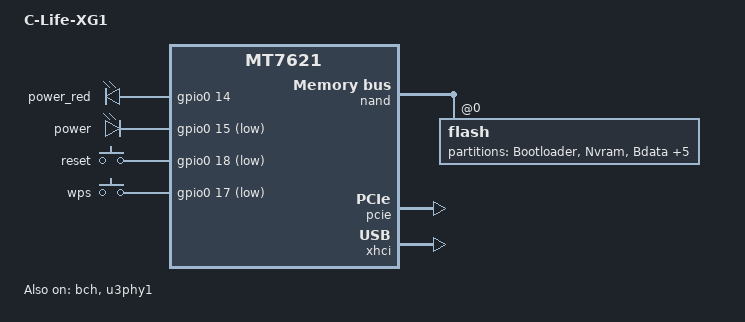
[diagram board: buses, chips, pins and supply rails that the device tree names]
/dts-v1/;

#include "mt7621.dtsi"
#include <dt-bindings/input/input.h>
#include "mt7621-raeth-gmac2.dtsi"
#include "mt7621-pinctrl-default-gpio.dtsi"

/ {
	compatible = "mediatek,mt7621-soc";
	model = "C-Life-XG1";

	chosen {
		bootargs = "console=ttyS0,115200";
	};

	leds {
		compatible = "gpio-leds";

		sys_red {
			label = "power_red";
			gpios = <&gpio0 14 GPIO_ACTIVE_HIGH>;
		};

		sys_blue {
			label = "power";
			gpios = <&gpio0 15 GPIO_ACTIVE_LOW>;
		};
	};

	gpio-keys-polled {
		compatible = "gpio-keys-polled";
		#address-cells = <1>;
		#size-cells = <0>;
		poll-interval = <20>;

		reset {
			label = "reset";
			gpios = <&gpio0 18 GPIO_ACTIVE_LOW>;
			linux,code = <KEY_RESTART>;
		};

		wps {
			label = "wps";
			gpios = <&gpio0 17 GPIO_ACTIVE_LOW>;
			linux,code = <KEY_WPS_BUTTON>;
		};
	};
};

&bch {
	status = "okay";
};

&nand {
	status = "okay";

	flash@0 {
		reg = <0>;
		nand-ecc-mode = "hw";
		partitions {
			compatible = "fixed-partitions";
			#address-cells = <1>;
			#size-cells = <1>;

			partition@0 {
				label = "Bootloader";
				reg = <0x00000 0x80000>;
			};

			partition@80000 {
				label = "Nvram";
				reg = <0x80000 0x40000>;
			};

			partition@c0000 {
				label = "Bdata";
				reg = <0xc0000 0x40000>;
			};

			partition@100000 {
				label = "Factory";
				reg = <0x100000 0x80000>;
			};
			
			partition@180000 {
				label = "crash";
				reg = <0x180000 0x40000>;
			};

			partition@1c0000 {
				label = "crash_log";
				reg = <0x1c0000 0x40000>;
			};

			partition@200000 {
				label = "kernel";
				reg = <0x200000 0x400000>;
			};

			partition@600000 {
				label = "ubi";
				reg = <0x600000 0xCA00000>;
			};
		};
	};
};

&pcie {
	status = "okay";
};

&xhci {
	status = "okay";
};

&u3phy1 {
	status = "okay";
};
